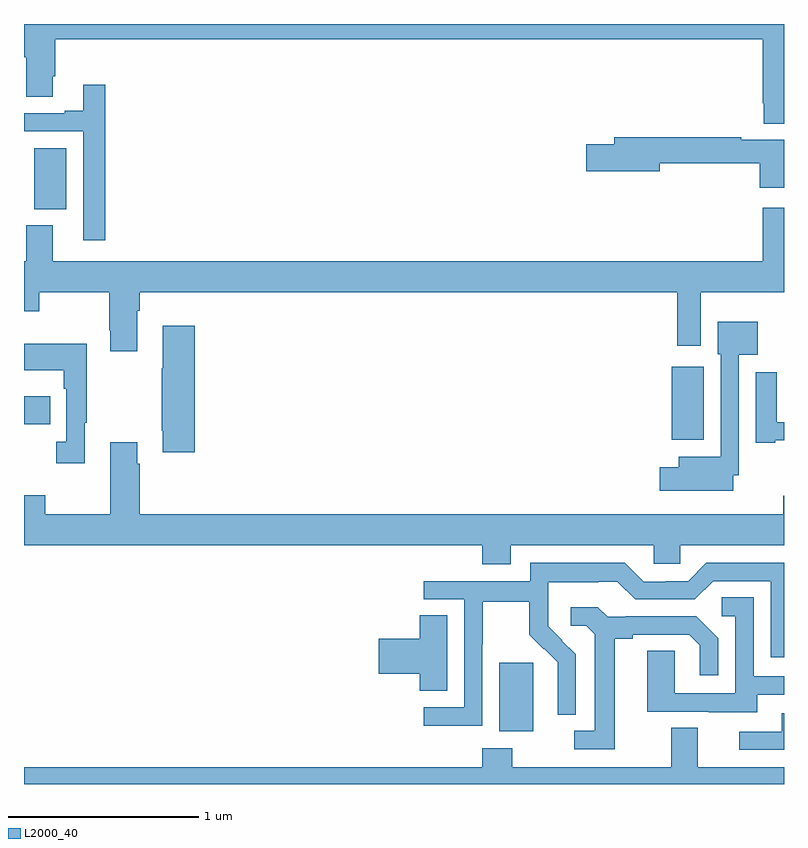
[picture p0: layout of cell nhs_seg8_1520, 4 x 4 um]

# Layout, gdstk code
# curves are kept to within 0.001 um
import gdstk
lib = gdstk.Library(unit=1e-6, precision=1e-09)
def R(c, l, rs):  # rectangles x0, y0, x1, y1
    for r in rs: c.add(gdstk.rectangle(r[:2], r[2:], *l))
def P(c, l, *ps):  # polygons
    for p in ps: c.add(gdstk.Polygon(p, *l))
L2000_40 = (2000, 40)

nhs_seg8_1520 = lib.new_cell('nhs_seg8_1520')
R(nhs_seg8_1520, L2000_40, [(209.501,1126.178,209.68,1126.539), (210.41,1127.711,210.577,1128.097), (207,1127.794,207.137,1127.941), (207.053,1128.926,207.223,1129.246)])
P(nhs_seg8_1520, L2000_40, [(211,1129.9),(207,1129.9),(207,1129.724),(207.011,1129.724),(207.011,1129.516),(207.151,1129.516),(207.151,1129.624),(207.164,1129.624),(207.164,1129.82),(210.888,1129.82),(210.888,1129.483),(210.894,1129.483),(210.894,1129.376),(211,1129.376)],
  [(207.428,1129.579),(207.311,1129.579),(207.311,1129.444),(207.215,1129.444),(207.215,1129.431),(207,1129.431),(207,1129.335),(207.312,1129.335),(207.312,1128.762),(207.428,1128.762)],
  [(211,1129.291),(210.776,1129.291),(210.776,1129.304),(210.107,1129.304),(210.107,1129.268),(209.958,1129.268),(209.958,1129.126),(210.346,1129.126),(210.346,1129.168),(210.872,1129.168),(210.872,1129.037),(211,1129.037)],
  [(207.595,1128.392),(207.608,1128.392),(207.608,1128.488),(210.437,1128.488),(210.437,1128.207),(210.562,1128.207),(210.562,1128.488),(211,1128.488),(211,1128.934),(210.888,1128.934),(210.888,1128.652),(207.151,1128.652),(207.151,1128.841),(207.011,1128.841),(207.011,1128.652),(207,1128.652),(207,1128.389),(207.081,1128.389),(207.081,1128.488),(207.448,1128.488),(207.448,1128.289),(207.455,1128.289),(207.455,1128.177),(207.595,1128.177)],
  [(210.733,1127.525),(210.762,1127.525),(210.762,1128.158),(210.862,1128.158),(210.862,1128.334),(210.65,1128.334),(210.65,1128.162),(210.666,1128.162),(210.666,1127.623),(210.446,1127.623),(210.446,1127.566),(210.345,1127.566),(210.345,1127.444),(210.733,1127.444)],
  [(207.899,1128.313),(207.731,1128.313),(207.731,1128.089),(207.724,1128.089),(207.724,1127.758),(207.731,1127.758),(207.731,1127.646),(207.899,1127.646)],
  [(207.319,1127.801),(207.331,1127.801),(207.331,1128.217),(207,1128.217),(207,1128.077),(207.21,1128.077),(207.21,1127.981),(207.222,1127.981),(207.222,1127.702),(207.171,1127.702),(207.171,1127.589),(207.319,1127.589)],
  [(210.955,1127.709),(211,1127.709),(211,1127.805),(210.961,1127.805),(210.961,1128.067),(210.851,1128.067),(210.851,1127.697),(210.955,1127.697)],
  [(209.563,1127.156),(210.315,1127.156),(210.315,1127.058),(210.453,1127.058),(210.453,1127.156),(211,1127.156),(211,1127.416),(210.995,1127.416),(210.995,1127.32),(207.608,1127.32),(207.608,1127.585),(207.595,1127.585),(207.595,1127.698),(207.455,1127.698),(207.455,1127.32),(207.111,1127.32),(207.111,1127.419),(207,1127.419),(207,1127.156),(209.411,1127.156),(209.411,1127.057),(209.563,1127.057)],
  [(209.412,1126.636),(209.415,1126.636),(209.415,1126.86),(209.659,1126.86),(209.659,1126.685),(209.736,1126.608),(209.739,1126.611),(209.81,1126.541),(209.81,1126.418),(209.808,1126.418),(209.808,1126.264),(209.904,1126.264),(209.904,1126.582),(209.758,1126.73),(209.758,1126.827),(209.76,1126.827),(209.76,1126.961),(210.023,1126.961),(210.023,1126.965),(210.123,1126.965),(210.216,1126.872),(210.531,1126.872),(210.627,1126.968),(210.93,1126.968),(210.93,1126.566),(211,1126.566),(211,1127.064),(210.591,1127.064),(210.495,1126.968),(210.377,1126.968),(210.377,1126.965),(210.261,1126.965),(210.161,1127.065),(209.664,1127.065),(209.664,1126.968),(209.103,1126.968),(209.103,1126.872),(209.316,1126.872),(209.316,1126.305),(209.103,1126.305),(209.103,1126.207),(209.412,1126.207)],
  [(210.859,1126.371),(211,1126.371),(211,1126.467),(210.84,1126.467),(210.84,1126.883),(210.672,1126.883),(210.672,1126.782),(210.744,1126.782),(210.744,1126.377),(210.426,1126.377),(210.426,1126.601),(210.281,1126.601),(210.281,1126.281),(210.605,1126.281),(210.605,1126.277),(210.859,1126.277)],
  [(210.109,1126.664),(210.205,1126.664),(210.205,1126.686),(210.5,1126.686),(210.557,1126.629),(210.557,1126.473),(210.654,1126.473),(210.654,1126.666),(210.538,1126.782),(210.166,1126.782),(210.166,1126.779),(210.072,1126.779),(210.02,1126.831),(209.877,1126.831),(209.877,1126.734),(209.958,1126.734),(210.005,1126.687),(210.005,1126.179),(209.895,1126.179),(209.895,1126.083),(210.109,1126.083)],
  [(209.227,1126.787),(209.084,1126.787),(209.084,1126.664),(208.866,1126.664),(208.866,1126.481),(209.084,1126.481),(209.084,1126.39),(209.227,1126.39)],
  [(211,1126.272),(210.989,1126.272),(210.989,1126.176),(210.765,1126.176),(210.765,1126.08),(211,1126.08)],
  [(211,1125.988),(210.547,1125.988),(210.547,1126.196),(210.407,1126.196),(210.407,1125.988),(209.571,1125.988),(209.571,1126.087),(209.411,1126.087),(209.411,1125.988),(207,1125.988),(207,1125.9),(211,1125.9)])

lib.write_gds('nhs_seg8_1520.gds')
